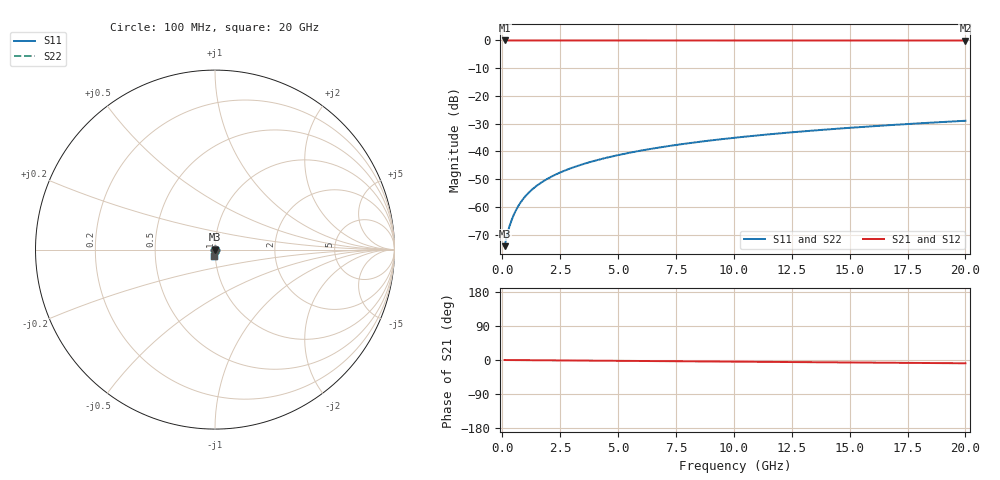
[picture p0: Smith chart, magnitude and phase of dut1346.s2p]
! Touchstone file exported from HFSS 2026.1.0
!  File:  C:/ffzhzh/LocalFiles/Ansys_Project_Files/temp_train_TSV_1346_1783195687_43440.aedt
!  Generated:  04:09:41 AM Jul  5, 2026
!  Design:  TSV
!  Project:  temp_train_TSV_1346_1783195687_43440
! Variables:
!  h_bsmrdl = 2um
!  h_ox = 20um
!  h_rdl = 5um
!  h_sub = 89.3um
!  h_tmrdl = 5um
!  h_tsv = 89.3um
!  h_via = 3um
!  l_bsmrdl = 300um
!  l_sub = 419.56um
!  l_tmrdl = 200um
!  m_sub = 200um
!  pitch = 31.64um
!  r_tsv = 9.78um
!  s_tmrdl = 10um
!  w_bsmrdl = 18um
!  w_sub = 500um
!  w_tmrdl = 12um
!  x_tsv_center1 = 206um
!  x_tsv_center2 = 524um
!  x_tsv_center3 = 736um
!  x_tsv_center4 = 1054um
!  x_tsv_center5 = 1266um
!  x_tsv_center6 = 1584um
# GHz S MA R 50.000000
! Terminal data exported
! Port[1] = TSV1_1_T1
! Port[2] = TSV1_1_T2
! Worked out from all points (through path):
!   200 points, 100 MHz to 20 GHz, reference 50 ohm
!   highest |S21| = 0.00 dB at 100 MHz (marker M1); lowest = 0.0 dB at 20 GHz (marker M2)
!   group delay of S21, straight-line fit = 1.2 ps
!   lowest |S11| = -74.2 dB at 100 MHz (marker M3), VSWR 1.00, Z = 50 - j0.0125 ohm
!   |S11| at or under -10 dB: start of sweep to end of sweep
!   |S22| runs from -74.2 to -28.9 dB; largest |S21 - S12| = 4.4e-15
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0.1  0.0001959 -39.5  0.9998 -0.0  0.9998 -0.0  0.0001959 -39.5
! Gamma 0 0 0 0
! Port Impedance 50 0 50 0
0.2  0.0003034 -56.5  0.9998 -0.1  0.9998 -0.1  0.0003034 -56.5
0.3  0.000433 -63.9  0.9998 -0.1  0.9998 -0.1  0.000433 -63.9
0.4  0.0005756 -67.7  0.9998 -0.2  0.9998 -0.2  0.0005756 -67.7
0.5  0.0007277 -70.1  0.9997 -0.2  0.9997 -0.2  0.0007277 -70.1
0.6  0.0008868 -71.8  0.9997 -0.3  0.9997 -0.3  0.0008868 -71.8
0.8  0.001219 -74.5  0.9997 -0.4  0.9997 -0.4  0.001219 -74.5
1.1  0.001733 -77.3  0.9996 -0.5  0.9996 -0.5  0.001733 -77.3
1.3  0.00208 -78.7  0.9996 -0.6  0.9996 -0.6  0.00208 -78.7
1.5  0.002428 -79.9  0.9995 -0.7  0.9995 -0.7  0.002428 -79.9
1.8  0.00295 -81.2  0.9995 -0.8  0.9995 -0.8  0.00295 -81.2
2.1  0.003473 -82.3  0.9995 -0.9  0.9995 -0.9  0.003473 -82.3
2.7  0.00452 -83.8  0.9994 -1.2  0.9994 -1.2  0.00452 -83.8
3.5  0.005922 -85.2  0.9993 -1.5  0.9993 -1.5  0.005922 -85.2
4.2  0.007158 -86.1  0.9993 -1.8  0.9993 -1.8  0.007158 -86.1
5  0.008579 -87.0  0.9992 -2.2  0.9992 -2.2  0.008579 -87.0
6.8  0.0118 -88.5  0.999 -3.0  0.999 -3.0  0.0118 -88.5
8.3  0.01451 -89.6  0.9989 -3.6  0.9989 -3.6  0.01451 -89.6
10.1  0.01776 -90.8  0.9987 -4.4  0.9987 -4.4  0.01776 -90.8
13.4  0.02373 -92.7  0.9984 -5.8  0.9984 -5.8  0.02373 -92.7
16.7  0.02971 -94.5  0.9981 -7.2  0.9981 -7.2  0.02971 -94.5
20  0.0357 -96.1  0.9978 -8.7  0.9978 -8.7  0.0357 -96.1
